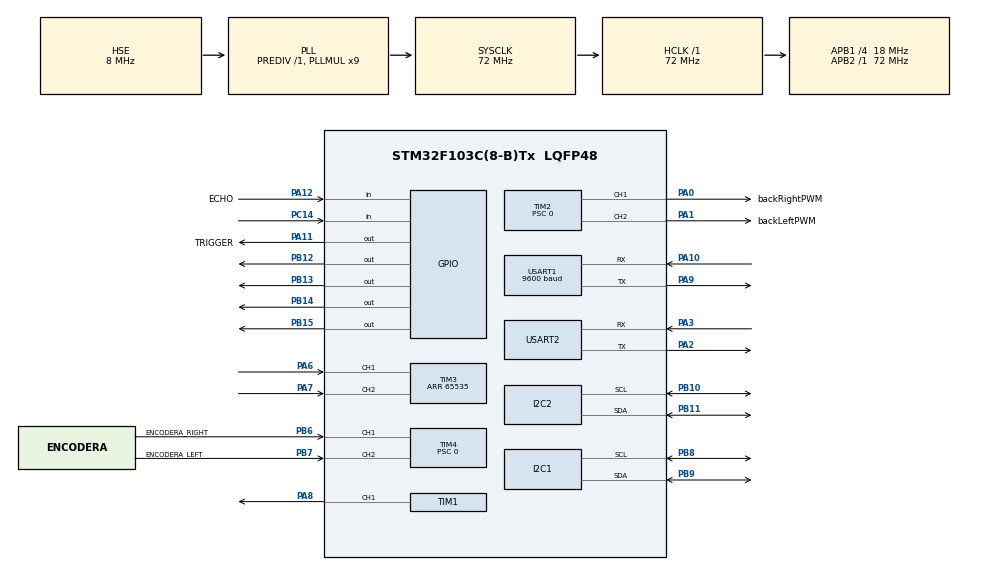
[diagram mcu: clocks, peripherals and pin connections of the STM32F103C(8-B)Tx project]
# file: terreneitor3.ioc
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I2C1.I2C_Mode=I2C_Standard
Mcu.Family=STM32F1
Mcu.Name=STM32F103C(8-B)Tx
Mcu.Package=LQFP48
NVIC.PriorityGroup=NVIC_PRIORITYGROUP_4
NVIC.TIM3_IRQn=true\:0\:0\:false\:false\:true\:true\:true\:true
NVIC.TIM4_IRQn=true\:0\:0\:false\:false\:true\:true\:true\:true
NVIC.USART1_IRQn=true\:0\:0\:false\:false\:true\:true\:true\:true
PA0-WKUP.GPIO_Label=backRightPWM
PA0-WKUP.Signal=S_TIM2_CH1_ETR
PA1.GPIO_Label=backLeftPWM
PA1.Signal=S_TIM2_CH2
PA10.Mode=Asynchronous
PA10.Signal=USART1_RX
PA11.GPIO_Label=TRIGGER
PA11.Signal=GPIO_Output
PA12.GPIO_Label=ECHO
PA12.Signal=GPIO_Input
PA13.Mode=Serial_Wire
PA13.Signal=SYS_JTMS-SWDIO
PA14.Mode=Serial_Wire
PA14.Signal=SYS_JTCK-SWCLK
PA2.Mode=Asynchronous
PA2.Signal=USART2_TX
PA3.Mode=Asynchronous
PA3.Signal=USART2_RX
PA6.Signal=S_TIM3_CH1
PA7.Signal=S_TIM3_CH2
PA8.Signal=S_TIM1_CH1
PA9.Mode=Asynchronous
PA9.Signal=USART1_TX
PB10.Mode=I2C
PB10.Signal=I2C2_SCL
PB11.Mode=I2C
PB11.Signal=I2C2_SDA
PB12.Signal=GPIO_Output
PB13.Signal=GPIO_Output
PB14.Signal=GPIO_Output
PB15.Signal=GPIO_Output
PB6.GPIO_Label=ENCODERA_RIGHT
PB6.Signal=S_TIM4_CH1
PB7.GPIO_Label=ENCODERA_LEFT
PB7.Signal=S_TIM4_CH2
PB8.Mode=I2C
PB8.Signal=I2C1_SCL
PB9.Mode=I2C
PB9.Signal=I2C1_SDA
PC14-OSC32_IN.Signal=GPIO_Input
PD0-OSC_IN.Mode=HSE-External-Oscillator
PD0-OSC_IN.Signal=RCC_OSC_IN
PD1-OSC_OUT.Mode=HSE-External-Oscillator
PD1-OSC_OUT.Signal=RCC_OSC_OUT
ProjectManager.HeapSize=0x200
ProjectManager.StackSize=0x400
ProjectManager.TargetToolchain=STM32CubeIDE
RCC.AHBFreq_Value=72000000
RCC.APB1CLKDivider=RCC_HCLK_DIV4
RCC.APB1Freq_Value=18000000
RCC.APB1TimFreq_Value=36000000
RCC.APB2Freq_Value=72000000
RCC.APB2TimFreq_Value=72000000
RCC.HCLKFreq_Value=72000000
RCC.PLLMUL=RCC_PLL_MUL9
RCC.PLLSourceVirtual=RCC_PLLSOURCE_HSE
RCC.SYSCLKFreq_VALUE=72000000
RCC.SYSCLKSource=RCC_SYSCLKSOURCE_PLLCLK
RCC.USBFreq_Value=72000000
SH.S_TIM1_CH1.0=TIM1_CH1,PWM Generation1 CH1
SH.S_TIM2_CH1_ETR.0=TIM2_CH1,PWM Generation1 CH1
SH.S_TIM2_CH2.0=TIM2_CH2,PWM Generation2 CH2
SH.S_TIM3_CH1.0=TIM3_CH1,Encoder_Interface
SH.S_TIM3_CH2.0=TIM3_CH2,Encoder_Interface
SH.S_TIM4_CH1.0=TIM4_CH1,Encoder_Interface
SH.S_TIM4_CH2.0=TIM4_CH2,Encoder_Interface
TIM1.AutoReloadPreload=TIM_AUTORELOAD_PRELOAD_ENABLE
TIM1.Channel-PWM\ Generation1\ CH1=TIM_CHANNEL_1
TIM1.Period=1999
TIM1.Prescaler=720
TIM2.AutoReloadPreload=TIM_AUTORELOAD_PRELOAD_ENABLE
TIM2.Channel-PWM\ Generation1\ CH1=TIM_CHANNEL_1
TIM2.Channel-PWM\ Generation2\ CH2=TIM_CHANNEL_2
TIM2.OC1Preload_PWM=DISABLE
TIM2.OC2Preload_PWM=DISABLE
TIM2.Period=255
TIM2.Prescaler=0
TIM3.AutoReloadPreload=TIM_AUTORELOAD_PRELOAD_DISABLE
TIM3.EncoderMode=TIM_ENCODERMODE_TI12
TIM3.IC1Polarity=TIM_ICPOLARITY_FALLING
TIM3.IC2Polarity=TIM_ICPOLARITY_FALLING
TIM3.Period=65535
TIM4.AutoReloadPreload=TIM_AUTORELOAD_PRELOAD_DISABLE
TIM4.EncoderMode=TIM_ENCODERMODE_TI12
TIM4.IC1Polarity=TIM_ICPOLARITY_FALLING
TIM4.IC2Polarity=TIM_ICPOLARITY_FALLING
TIM4.Period=65535
TIM4.Prescaler=0
USART1.BaudRate=9600
USART1.VirtualMode=VM_ASYNC
USART2.VirtualMode=VM_ASYNC
VP_TIM1_VS_ClockSourceINT.Mode=Internal
VP_TIM2_VS_ClockSourceINT.Mode=Internal
board=custom

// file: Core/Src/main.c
/* USER CODE BEGIN Header */
/**
  ******************************************************************************
  * @file           : main.c
  * @brief          : Main program body
  ******************************************************************************
  * @attention
  *
  * Copyright (c) 2023 STMicroelectronics.
  * All rights reserved.
  *
  * This software is licensed under terms that can be found in the LICENSE file
  * in the root directory of this software component.
  * If no LICENSE file comes with this software, it is provided AS-IS.
  *
  ******************************************************************************
  */
/* USER CODE END Header */
#include "main.h"

/* USER CODE BEGIN Includes */
#include "stdio.h"
#include "string.h"
#include "stdbool.h"
#include "Odometry.h"
//#include "i2c.h"

 /* __GNUC__ */
//ANY DOUBTS ABOUT SERVO CONTROL ->  https://www.youtube.com/watch?v=4ycK0GIUuxQ
/* USER CODE END Includes */

I2C_HandleTypeDef hi2c1;
I2C_HandleTypeDef hi2c2;

TIM_HandleTypeDef htim1;
TIM_HandleTypeDef htim2;
TIM_HandleTypeDef htim3;
TIM_HandleTypeDef htim4;

UART_HandleTypeDef huart1;
UART_HandleTypeDef huart2;

/* USER CODE BEGIN PV */

#ifdef __GNUC__
#define PUTCHAR_PROTOTYPE int __io_putchar(int ch)
#else
#define PUTCHAR_PROTOTYPE int fputc(int ch, FILE *f)
#endif
/* USER CODE END PV */

void SystemClock_Config(void);
static void MX_GPIO_Init(void);
static void MX_TIM1_Init(void);
static void MX_USART2_UART_Init(void);
static void MX_TIM2_Init(void);
static void MX_I2C1_Init(void);
static void MX_TIM4_Init(void);
static void MX_TIM3_Init(void);
static void MX_USART1_UART_Init(void);
static void MX_I2C2_Init(void);
/* USER CODE BEGIN PFP */

uint8_t rxData;
uint8_t command1;
float gy = 0;
float gx= 0;
float gz = 0;
float calibrationGx=0;
float calibrationGy=0;
float calibrationGz=0;
float calibrationNum= 0;
float calibrationGxFinal =0 ;
float calibrationGyFinal = 0;
float calibrationGzFinal = 0;
float calibrationGxOld = 0;
float calibrationGyOld = 0;
float calibrationGzOld = 0;
float calibracionSumaTotalGy= 0;
float gxFinal= 1;
float gyFinal=1;
float gzFinal=1;
char  msg1[]="sistema calibrado";
char  msg2[]=".";
float resetVal= 0;
float gyAngle = 0;
float gyOld = 0;
int millis = 0;
int millisLast = 0;
int millisCounter = 0;
float ax, ay, az, gx, gy ,gz,t;
uint16_t duty_cycle= 10;

uint8_t buffer_uart[16]= "Hello World";

uint8_t buffer_uart2[]= "0";

PUTCHAR_PROTOTYPE {
    char buffer[32]; // Adjust the buffer size as needed
    int len = snprintf(buffer, sizeof(buffer), "%c", ch);
    if (len > 0) {
        HAL_UART_Transmit(&huart1, (uint8_t *)buffer, len, 10); // Transmit the formatted string
    }
    return ch;
}

Motor *currentMotor;

void HAL_TIM_IC_CaptureCallback(TIM_HandleTypeDef *htim)
{
     if (htim == &htim3) {
    	 currentMotor = &backRight;
    	 currentMotor->encoderTicks++;
		 currentMotor->encoderPulses++;//backRight.encoderPulses = __HAL_TIM_GET_COUNTER(&htim3);
    } else if (htim == &htim4) {

    	currentMotor = &backLeft;
    	currentMotor->encoderTicks++;
		currentMotor->encoderPulses++;//backLeft.encoderPulses = __HAL_TIM_GET_COUNTER(&htim4);
    }
}

void calibrateIMU(){

		  if(MPU6050_Read_Data() > 0)
		  {
			  printf("\nIniciando Calibracion %s \n",msg2 );
			  while(gyFinal > 0.05 || gyFinal < -0.05)
		  {
			  for(calibrationNum = 0; calibrationNum<2001; calibrationNum++)
			  {
			  if(MPU6050_Read_Data() > 0)
			  {
				  gy = MPU6050_Get_Gy() - calibrationGyFinal;
				  gx = MPU6050_Get_Gx() - calibrationGxFinal;
				  gz = MPU6050_Get_Gz() - calibrationGzFinal;

				  calibrationGx = calibrationGx + gx;
				  calibrationGy = calibrationGy + gy;
				  calibrationGz = calibrationGz + gz;
			  }
				  else("No lee %s",msg2);
				  HAL_Delay(1);
			}

			printf("calibrationGx = %d\n", (int)calibrationGx);
			printf("calibrationGy = %d\n", (int)calibrationGy);
			printf("calibrationGz = %d\n", (int)calibrationGz);

			 calibrationGxFinal= calibrationGx / 2000;
			 calibrationGyFinal= calibrationGy / 2000;
			 calibrationGzFinal= calibrationGz / 2000;

			printf("calibrationGxFinal = %d\n", (int)calibrationGxFinal);
			printf("calibrationGyFinal = %d\n", (int)calibrationGyFinal);
			printf("calibrationGzFinal = %d\n", (int)calibrationGzFinal);

			printf("Gx  = %d\n", (int)gx);
			printf("Gy  = %d\n", (int)gy);
			printf("Gz  = %d\n", (int)gz);

			gxFinal= gx - calibrationGxFinal;
			gyFinal= gy - calibrationGyFinal ;
			gzFinal = gz - calibrationGzFinal;

			printf("Gx Final = %d\n", (int)gxFinal);
			printf("Gy Final = %d\n", (int)gyFinal);
			printf("Gz Final = %d\n", (int)gzFinal);

			calibracionSumaTotalGy= calibrationGyFinal + calibracionSumaTotalGy;
			printf("Gy Suma Total = %d\n", (int)calibracionSumaTotalGy);

			calibrationGxFinal = calibrationGxFinal + calibrationGxOld;
			calibrationGyFinal = calibrationGyFinal + calibrationGyOld;
			calibrationGzFinal= calibrationGzFinal + calibrationGzOld;
			calibrationGxOld= calibrationGxFinal;
			calibrationGyOld= calibrationGyFinal;
			calibrationGzOld= calibrationGzFinal;
			calibrationGx =0 ;
			calibrationGy = 0;
			calibrationGz = 0;
	  }

		printf(" %s\n", msg1);
		printf("Gy Suma Total= %f\n", calibracionSumaTotalGy);
		resetVal = 0 ;
		printf("RxBefore= %i \n",rxData );
		printf("RxAfter= %i \n",rxData );
		printf("ResetVal= %f \n",resetVal);

			  rxData = 0;

}
}

float getAngle(){

	  if (calibracionSumaTotalGy != 0){
	  if(MPU6050_Read_Data() > 0)
		  {

			gy = MPU6050_Get_Gy();  //monitoreo de gy

			gy= gy - calibracionSumaTotalGy ; //cambiar por sumaTotalGy
			//Delay de 160 -> gy*0.23
			gyAngle = gyAngle+gy*0.23*0.25  ;

			if(gyAngle < gyOld - 0.80 || gyAngle > gyOld + 0.80){
					gyAngle = gyAngle;

			}
			else{
				gyAngle=gyOld;
			}

			gyOld = gyAngle;

		//	printf("Angulo giro=  %d\n ",(int)gyAngle); //gyAngle
		//	printf("gy=  %d\n ",(int)gy);

		  }

	  	  else{
	  		  if(MPU6050_Read_Data() == 0)
	  			  	  printf("No jala\r\n");
	  	  	  }
  }
	  return gyAngle;
}

/* USER CODE END PFP */

int main(void)
{

  /* MCU Configuration--------------------------------------------------------*/

  /* Reset of all peripherals, Initializes the Flash interface and the Systick. */
  HAL_Init();

  /* Configure the system clock */
  SystemClock_Config();

  /* USER CODE BEGIN SysInit */
	HAL_Init();

  /* USER CODE END SysInit */

  /* Initialize all configured peripherals */
  MX_GPIO_Init();
  MX_TIM1_Init();
  MX_USART2_UART_Init();
  MX_TIM2_Init();
  MX_I2C1_Init();
  MX_TIM4_Init();
  MX_TIM3_Init();
  MX_USART1_UART_Init();
  MX_I2C2_Init();
  /* USER CODE BEGIN 2 */

	HAL_TIM_PWM_Start(&htim1, TIM_CHANNEL_1);
    HAL_TIM_PWM_Start(&htim2, TIM_CHANNEL_1);
	HAL_TIM_PWM_Start(&htim2, TIM_CHANNEL_2);
	HAL_TIM_Encoder_Start_IT(&htim3, TIM_CHANNEL_ALL);
	HAL_TIM_Encoder_Start_IT(&htim4, TIM_CHANNEL_ALL);

	//HAL_UART_Receive_IT(&huart1,(uint8_t*)&rxData,1);

	//float angle;
	double setpoint = 100.0;
	float currentMillis = 0;
	float prevMillis = 0;
	float angle;
	float setpointDegrees = 0 ;
	double distance = 0;
	double totalDistance = 0;
	bool estado = 0; // 0 PARA RECTA Y 1 PARA CURVA
	uint8_t counter = 0;

	calibrateIMU();
	initMovement();
	MPU6050_Init();
	currentMotor = &backLeft;
	PIDreset(&(currentMotor->motorPid));
	currentMotor = &backLeft;
	PIDreset(&(currentMotor->motorPid));
  /* USER CODE END 2 */
  /* Infinite loop */
	while (1)
	{
    /* USER CODE BEGIN 3 */
		//goStraight();
		angle = getAngle();
		currentMillis = HAL_GetTick();
		printf("angle %d\r\n", (int)angle);
		printf("Desired angle %d\r\n", (int)setpointDegrees);
		//moveToDegrees(angle, setpointDegrees);

		if(counter < 4){
			if(estado == 1){
				constantRPM(&backRight, 90);
				constantRPM(&backLeft, setpoint);
				moveToDegreesT(setpointDegrees, angle, 60);

				if(angle >= setpointDegrees){
					estado = 0;
				}
			}

			if(estado == 0){
				constantRPM(&backRight, setpoint);
				constantRPM(&backLeft, setpoint);

			if (totalDistance < 70.0) {
				distance = backLeft.encoderTicks * (backLeft.details.kWheelDiameter * 3.1416) / backLeft.details.kPulsesPerRevolution;
				totalDistance += distance;
				moveToDegreesT(setpointDegrees, angle, 90);
				printf("BackLeft RPM: %d\r\n", (int)backLeft.current_speed);
				printf("BackRight RPM: %d\r\n", (int)backRight.current_speed);
			} else {
				stop();
				prevMillis = currentMillis;
				 while ((currentMillis - prevMillis) < 5000) {
					stop();
					currentMillis = HAL_GetTick();

				 }
					estado = 1;
					counter++;
					totalDistance = 0;
					setpointDegrees = angle + 130;

				}
			}
		} else{
			stop();
		}
		//printf("Current BackLeftMotor RPM: %d\r\n",(int)getRPM(&backLeft));
		//printf("Current BackLRightMotor RPM: %d\r\n",(int)getRPM(&backRight));
  /* USER CODE END 3 */
	}
}

void SystemClock_Config(void)
{
  RCC_OscInitTypeDef RCC_OscInitStruct = {0};
  RCC_ClkInitTypeDef RCC_ClkInitStruct = {0};

  /** Initializes the RCC Oscillators according to the specified parameters
  * in the RCC_OscInitTypeDef structure.
  */
  RCC_OscInitStruct.OscillatorType = RCC_OSCILLATORTYPE_HSE;
  RCC_OscInitStruct.HSEState = RCC_HSE_ON;
  RCC_OscInitStruct.HSEPredivValue = RCC_HSE_PREDIV_DIV1;
  RCC_OscInitStruct.HSIState = RCC_HSI_ON;
  RCC_OscInitStruct.PLL.PLLState = RCC_PLL_ON;
  RCC_OscInitStruct.PLL.PLLSource = RCC_PLLSOURCE_HSE;
  RCC_OscInitStruct.PLL.PLLMUL = RCC_PLL_MUL9;
  if (HAL_RCC_OscConfig(&RCC_OscInitStruct) != HAL_OK)
  {
    Error_Handler();
  }

  /** Initializes the CPU, AHB and APB buses clocks
  */
  RCC_ClkInitStruct.ClockType = RCC_CLOCKTYPE_HCLK|RCC_CLOCKTYPE_SYSCLK
                              |RCC_CLOCKTYPE_PCLK1|RCC_CLOCKTYPE_PCLK2;
  RCC_ClkInitStruct.SYSCLKSource = RCC_SYSCLKSOURCE_PLLCLK;
  RCC_ClkInitStruct.AHBCLKDivider = RCC_SYSCLK_DIV1;
  RCC_ClkInitStruct.APB1CLKDivider = RCC_HCLK_DIV4;
  RCC_ClkInitStruct.APB2CLKDivider = RCC_HCLK_DIV1;

  if (HAL_RCC_ClockConfig(&RCC_ClkInitStruct, FLASH_LATENCY_2) != HAL_OK)
  {
    Error_Handler();
  }
}

static void MX_I2C1_Init(void)
{

  hi2c1.Instance = I2C1;
  hi2c1.Init.ClockSpeed = 100000;
  hi2c1.Init.DutyCycle = I2C_DUTYCYCLE_2;
  hi2c1.Init.OwnAddress1 = 0;
  hi2c1.Init.AddressingMode = I2C_ADDRESSINGMODE_7BIT;
  hi2c1.Init.DualAddressMode = I2C_DUALADDRESS_DISABLE;
  hi2c1.Init.OwnAddress2 = 0;
  hi2c1.Init.GeneralCallMode = I2C_GENERALCALL_DISABLE;
  hi2c1.Init.NoStretchMode = I2C_NOSTRETCH_DISABLE;
  if (HAL_I2C_Init(&hi2c1) != HAL_OK)
  {
    Error_Handler();
  }

}

static void MX_I2C2_Init(void)
{

  hi2c2.Instance = I2C2;
  hi2c2.Init.ClockSpeed = 100000;
  hi2c2.Init.DutyCycle = I2C_DUTYCYCLE_2;
  hi2c2.Init.OwnAddress1 = 0;
  hi2c2.Init.AddressingMode = I2C_ADDRESSINGMODE_7BIT;
  hi2c2.Init.DualAddressMode = I2C_DUALADDRESS_DISABLE;
  hi2c2.Init.OwnAddress2 = 0;
  hi2c2.Init.GeneralCallMode = I2C_GENERALCALL_DISABLE;
  hi2c2.Init.NoStretchMode = I2C_NOSTRETCH_DISABLE;
  if (HAL_I2C_Init(&hi2c2) != HAL_OK)
  {
    Error_Handler();
  }

}

static void MX_TIM1_Init(void)
{

  TIM_ClockConfigTypeDef sClockSourceConfig = {0};
  TIM_MasterConfigTypeDef sMasterConfig = {0};
  TIM_OC_InitTypeDef sConfigOC = {0};
  TIM_BreakDeadTimeConfigTypeDef sBreakDeadTimeConfig = {0};

  htim1.Instance = TIM1;
  htim1.Init.Prescaler = 720;
  htim1.Init.CounterMode = TIM_COUNTERMODE_UP;
  htim1.Init.Period = 1999;
  htim1.Init.ClockDivision = TIM_CLOCKDIVISION_DIV1;
  htim1.Init.RepetitionCounter = 0;
  htim1.Init.AutoReloadPreload = TIM_AUTORELOAD_PRELOAD_ENABLE;
  if (HAL_TIM_Base_Init(&htim1) != HAL_OK)
  {
    Error_Handler();
  }
  sClockSourceConfig.ClockSource = TIM_CLOCKSOURCE_INTERNAL;
  if (HAL_TIM_ConfigClockSource(&htim1, &sClockSourceConfig) != HAL_OK)
  {
    Error_Handler();
  }
  if (HAL_TIM_PWM_Init(&htim1) != HAL_OK)
  {
    Error_Handler();
  }
  sMasterConfig.MasterOutputTrigger = TIM_TRGO_RESET;
  sMasterConfig.MasterSlaveMode = TIM_MASTERSLAVEMODE_DISABLE;
  if (HAL_TIMEx_MasterConfigSynchronization(&htim1, &sMasterConfig) != HAL_OK)
  {
    Error_Handler();
  }
  sConfigOC.OCMode = TIM_OCMODE_PWM1;
  sConfigOC.Pulse = 0;
  sConfigOC.OCPolarity = TIM_OCPOLARITY_HIGH;
  sConfigOC.OCNPolarity = TIM_OCNPOLARITY_HIGH;
  sConfigOC.OCFastMode = TIM_OCFAST_DISABLE;
  sConfigOC.OCIdleState = TIM_OCIDLESTATE_RESET;
  sConfigOC.OCNIdleState = TIM_OCNIDLESTATE_RESET;
  if (HAL_TIM_PWM_ConfigChannel(&htim1, &sConfigOC, TIM_CHANNEL_1) != HAL_OK)
  {
    Error_Handler();
  }
  sBreakDeadTimeConfig.OffStateRunMode = TIM_OSSR_DISABLE;
  sBreakDeadTimeConfig.OffStateIDLEMode = TIM_OSSI_DISABLE;
  sBreakDeadTimeConfig.LockLevel = TIM_LOCKLEVEL_OFF;
  sBreakDeadTimeConfig.DeadTime = 0;
  sBreakDeadTimeConfig.BreakState = TIM_BREAK_DISABLE;
  sBreakDeadTimeConfig.BreakPolarity = TIM_BREAKPOLARITY_HIGH;
  sBreakDeadTimeConfig.AutomaticOutput = TIM_AUTOMATICOUTPUT_DISABLE;
  if (HAL_TIMEx_ConfigBreakDeadTime(&htim1, &sBreakDeadTimeConfig) != HAL_OK)
  {
    Error_Handler();
  }
  HAL_TIM_MspPostInit(&htim1);

}

static void MX_TIM2_Init(void)
{

  TIM_ClockConfigTypeDef sClockSourceConfig = {0};
  TIM_MasterConfigTypeDef sMasterConfig = {0};
  TIM_OC_InitTypeDef sConfigOC = {0};

  htim2.Instance = TIM2;
  htim2.Init.Prescaler = 0;
  htim2.Init.CounterMode = TIM_COUNTERMODE_UP;
  htim2.Init.Period = 255;
  htim2.Init.ClockDivision = TIM_CLOCKDIVISION_DIV1;
  htim2.Init.AutoReloadPreload = TIM_AUTORELOAD_PRELOAD_ENABLE;
  if (HAL_TIM_Base_Init(&htim2) != HAL_OK)
  {
    Error_Handler();
  }
  sClockSourceConfig.ClockSource = TIM_CLOCKSOURCE_INTERNAL;
  if (HAL_TIM_ConfigClockSource(&htim2, &sClockSourceConfig) != HAL_OK)
  {
    Error_Handler();
  }
  if (HAL_TIM_PWM_Init(&htim2) != HAL_OK)
  {
    Error_Handler();
  }
  sMasterConfig.MasterOutputTrigger = TIM_TRGO_RESET;
  sMasterConfig.MasterSlaveMode = TIM_MASTERSLAVEMODE_DISABLE;
  if (HAL_TIMEx_MasterConfigSynchronization(&htim2, &sMasterConfig) != HAL_OK)
  {
    Error_Handler();
  }
  sConfigOC.OCMode = TIM_OCMODE_PWM1;
  sConfigOC.Pulse = 0;
  sConfigOC.OCPolarity = TIM_OCPOLARITY_HIGH;
  sConfigOC.OCFastMode = TIM_OCFAST_DISABLE;
  if (HAL_TIM_PWM_ConfigChannel(&htim2, &sConfigOC, TIM_CHANNEL_1) != HAL_OK)
  {
    Error_Handler();
  }
  __HAL_TIM_DISABLE_OCxPRELOAD(&htim2, TIM_CHANNEL_1);
  if (HAL_TIM_PWM_ConfigChannel(&htim2, &sConfigOC, TIM_CHANNEL_2) != HAL_OK)
  {
    Error_Handler();
  }
  __HAL_TIM_DISABLE_OCxPRELOAD(&htim2, TIM_CHANNEL_2);
  HAL_TIM_MspPostInit(&htim2);

}

static void MX_TIM3_Init(void)
{

  TIM_Encoder_InitTypeDef sConfig = {0};
  TIM_MasterConfigTypeDef sMasterConfig = {0};

  htim3.Instance = TIM3;
  htim3.Init.Prescaler = 0;
  htim3.Init.CounterMode = TIM_COUNTERMODE_UP;
  htim3.Init.Period = 65535;
  htim3.Init.ClockDivision = TIM_CLOCKDIVISION_DIV1;
  htim3.Init.AutoReloadPreload = TIM_AUTORELOAD_PRELOAD_DISABLE;
  sConfig.EncoderMode = TIM_ENCODERMODE_TI12;
  sConfig.IC1Polarity = TIM_ICPOLARITY_FALLING;
  sConfig.IC1Selection = TIM_ICSELECTION_DIRECTTI;
  sConfig.IC1Prescaler = TIM_ICPSC_DIV1;
  sConfig.IC1Filter = 0;
  sConfig.IC2Polarity = TIM_ICPOLARITY_FALLING;
  sConfig.IC2Selection = TIM_ICSELECTION_DIRECTTI;
  sConfig.IC2Prescaler = TIM_ICPSC_DIV1;
  sConfig.IC2Filter = 0;
  if (HAL_TIM_Encoder_Init(&htim3, &sConfig) != HAL_OK)
  {
    Error_Handler();
  }
  sMasterConfig.MasterOutputTrigger = TIM_TRGO_RESET;
  sMasterConfig.MasterSlaveMode = TIM_MASTERSLAVEMODE_DISABLE;
  if (HAL_TIMEx_MasterConfigSynchronization(&htim3, &sMasterConfig) != HAL_OK)
  {
    Error_Handler();
  }

}

static void MX_TIM4_Init(void)
{

  TIM_Encoder_InitTypeDef sConfig = {0};
  TIM_MasterConfigTypeDef sMasterConfig = {0};

  htim4.Instance = TIM4;
  htim4.Init.Prescaler = 0;
  htim4.Init.CounterMode = TIM_COUNTERMODE_UP;
  htim4.Init.Period = 65535;
  htim4.Init.ClockDivision = TIM_CLOCKDIVISION_DIV1;
  htim4.Init.AutoReloadPreload = TIM_AUTORELOAD_PRELOAD_DISABLE;
  sConfig.EncoderMode = TIM_ENCODERMODE_TI12;
  sConfig.IC1Polarity = TIM_ICPOLARITY_FALLING;
  sConfig.IC1Selection = TIM_ICSELECTION_DIRECTTI;
  sConfig.IC1Prescaler = TIM_ICPSC_DIV1;
  sConfig.IC1Filter = 0;
  sConfig.IC2Polarity = TIM_ICPOLARITY_FALLING;
  sConfig.IC2Selection = TIM_ICSELECTION_DIRECTTI;
  sConfig.IC2Prescaler = TIM_ICPSC_DIV1;
  sConfig.IC2Filter = 0;
  if (HAL_TIM_Encoder_Init(&htim4, &sConfig) != HAL_OK)
  {
    Error_Handler();
  }
  sMasterConfig.MasterOutputTrigger = TIM_TRGO_RESET;
  sMasterConfig.MasterSlaveMode = TIM_MASTERSLAVEMODE_DISABLE;
  if (HAL_TIMEx_MasterConfigSynchronization(&htim4, &sMasterConfig) != HAL_OK)
  {
    Error_Handler();
  }

}

static void MX_USART1_UART_Init(void)
{

  huart1.Instance = USART1;
  huart1.Init.BaudRate = 9600;
  huart1.Init.WordLength = UART_WORDLENGTH_8B;
  huart1.Init.StopBits = UART_STOPBITS_1;
  huart1.Init.Parity = UART_PARITY_NONE;
  huart1.Init.Mode = UART_MODE_TX_RX;
  huart1.Init.HwFlowCtl = UART_HWCONTROL_NONE;
  huart1.Init.OverSampling = UART_OVERSAMPLING_16;
  if (HAL_UART_Init(&huart1) != HAL_OK)
  {
    Error_Handler();
  }

}

static void MX_USART2_UART_Init(void)
{

  huart2.Instance = USART2;
  huart2.Init.BaudRate = 115200;
  huart2.Init.WordLength = UART_WORDLENGTH_8B;
  huart2.Init.StopBits = UART_STOPBITS_1;
  huart2.Init.Parity = UART_PARITY_NONE;
  huart2.Init.Mode = UART_MODE_TX_RX;
  huart2.Init.HwFlowCtl = UART_HWCONTROL_NONE;
  huart2.Init.OverSampling = UART_OVERSAMPLING_16;
  if (HAL_UART_Init(&huart2) != HAL_OK)
  {
    Error_Handler();
  }

}

static void MX_GPIO_Init(void)
{
  GPIO_InitTypeDef GPIO_InitStruct = {0};

  /* GPIO Ports Clock Enable */
  __HAL_RCC_GPIOC_CLK_ENABLE();
  __HAL_RCC_GPIOD_CLK_ENABLE();
  __HAL_RCC_GPIOA_CLK_ENABLE();
  __HAL_RCC_GPIOB_CLK_ENABLE();

  /*Configure GPIO pin Output Level */
  HAL_GPIO_WritePin(GPIOB, GPIO_PIN_12|GPIO_PIN_13|GPIO_PIN_14|GPIO_PIN_15, GPIO_PIN_RESET);

  /*Configure GPIO pin Output Level */
  HAL_GPIO_WritePin(TRIGGER_GPIO_Port, TRIGGER_Pin, GPIO_PIN_RESET);

  /*Configure GPIO pin : PC14 */
  GPIO_InitStruct.Pin = GPIO_PIN_14;
  GPIO_InitStruct.Mode = GPIO_MODE_INPUT;
  GPIO_InitStruct.Pull = GPIO_NOPULL;
  HAL_GPIO_Init(GPIOC, &GPIO_InitStruct);

  /*Configure GPIO pins : PB12 PB13 PB14 PB15 */
  GPIO_InitStruct.Pin = GPIO_PIN_12|GPIO_PIN_13|GPIO_PIN_14|GPIO_PIN_15;
  GPIO_InitStruct.Mode = GPIO_MODE_OUTPUT_PP;
  GPIO_InitStruct.Pull = GPIO_NOPULL;
  GPIO_InitStruct.Speed = GPIO_SPEED_FREQ_LOW;
  HAL_GPIO_Init(GPIOB, &GPIO_InitStruct);

  /*Configure GPIO pin : TRIGGER_Pin */
  GPIO_InitStruct.Pin = TRIGGER_Pin;
  GPIO_InitStruct.Mode = GPIO_MODE_OUTPUT_PP;
  GPIO_InitStruct.Pull = GPIO_NOPULL;
  GPIO_InitStruct.Speed = GPIO_SPEED_FREQ_LOW;
  HAL_GPIO_Init(TRIGGER_GPIO_Port, &GPIO_InitStruct);

  /*Configure GPIO pin : ECHO_Pin */
  GPIO_InitStruct.Pin = ECHO_Pin;
  GPIO_InitStruct.Mode = GPIO_MODE_INPUT;
  GPIO_InitStruct.Pull = GPIO_NOPULL;
  HAL_GPIO_Init(ECHO_GPIO_Port, &GPIO_InitStruct);

}

void Error_Handler(void)
{
  /* USER CODE BEGIN Error_Handler_Debug */
  /* User can add his own implementation to report the HAL error return state */
  __disable_irq();
  while (1)
  {
	  printf("TIM 2 CHANNEL 3 Not WORKING\r\n");
  }
  /* USER CODE END Error_Handler_Debug */
}
